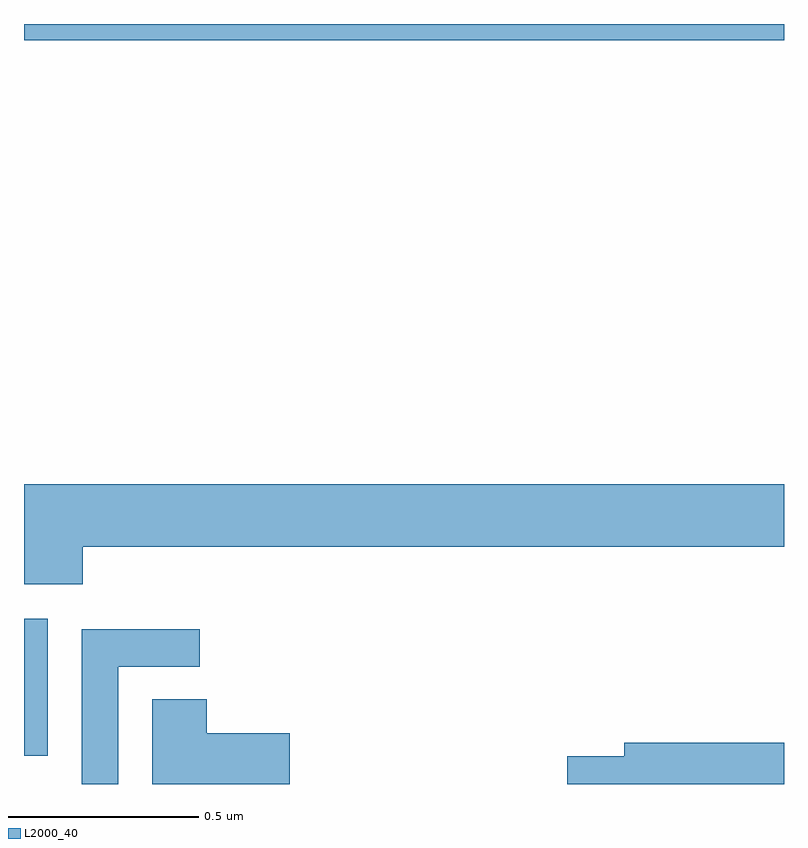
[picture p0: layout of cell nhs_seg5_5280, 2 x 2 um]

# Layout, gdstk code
import gdstk
lib = gdstk.Library(unit=1e-6, precision=1e-09)
def R(c, l, rs):  # rectangles x0, y0, x1, y1
    for r in rs: c.add(gdstk.rectangle(r[:2], r[2:], *l))
def P(c, l, *ps):  # polygons
    for p in ps: c.add(gdstk.Polygon(p, *l))
L2000_40 = (2000, 40)

nhs_seg5_5280 = lib.new_cell('nhs_seg5_5280')
R(nhs_seg5_5280, L2000_40, [(181,858.873,181.063,859.234), (181,860.756,183,860.799)])
P(nhs_seg5_5280, L2000_40, [(181.154,859.424),(183,859.424),(183,859.588),(181,859.588),(181,859.325),(181.154,859.325)],
  [(181.248,859.107),(181.462,859.107),(181.462,859.206),(181.152,859.206),(181.152,858.799),(181.248,858.799)],
  [(181.699,858.932),(181.481,858.932),(181.481,859.022),(181.337,859.022),(181.337,858.799),(181.699,858.799)],
  [(183,858.908),(182.579,858.908),(182.579,858.872),(182.43,858.872),(182.43,858.799),(183,858.799)])

lib.write_gds('nhs_seg5_5280.gds')
